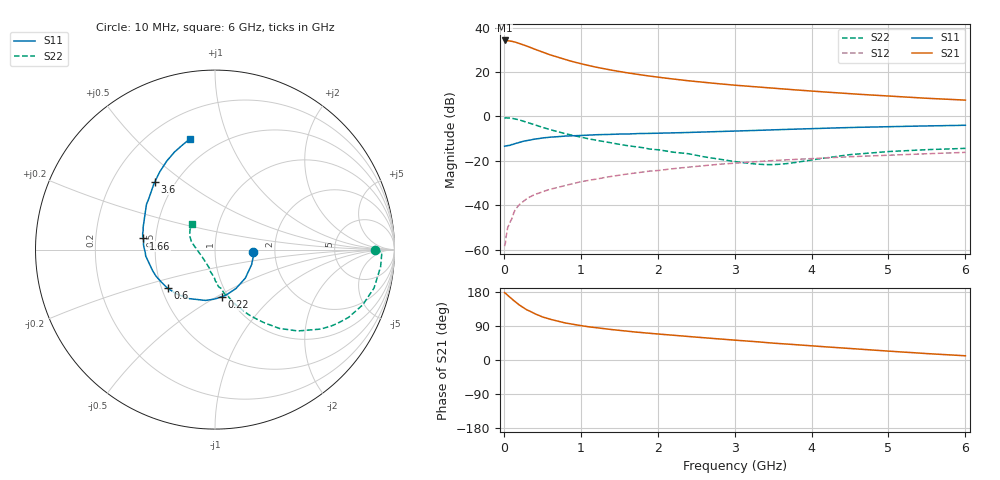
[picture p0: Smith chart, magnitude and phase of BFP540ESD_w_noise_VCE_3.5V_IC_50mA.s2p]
! Infineon Technologies  Discrete & RF Semiconductors
! BFP540ESD
! VCE =  3.5 V,  IC =  50 mA
! Common Emitter S-Parameters:  Nov 2015
# GHz  S  MA  R  50
!  f  S11  S21  S12  S22
! GHz  MAG  ANG  MAG  ANG  MAG  ANG  MAG  ANG
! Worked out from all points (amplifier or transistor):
!   210 points, 10 MHz to 6 GHz, reference 50 ohm
!   highest |S21| = 34.2 dB at 10 MHz (marker M1)
!   |S21| within 3 dB of that: start of sweep to 332.5 MHz
!   unconditionally stable (mu >= 1): start of sweep to 18.06 MHz; 1.548 GHz to end of sweep
!   at 185 MHz: K = 0.35, MSG = 36.7 dB, |S12| = -40.4 dB
!   at 1.52 GHz: K = 1.00, MSG = 23.2 dB, |S12| = -26.4 dB
!   at 6 GHz: K = 1.10, MAG = 9.9 dB, |S12| = -16.2 dB
!   lowest NFmin = 1.82 dB at 900 MHz
!   S11 on the Smith chart (normalised r, x): 10 MHz: 1.54, -0.04; 220 MHz: 0.93, -0.53; 600 MHz: 0.54, -0.26; 1.66 GHz: 0.43, +0.06; 3.6 GHz: 0.39, +0.39; 6 GHz: 0.36, +0.73
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0.01  0.2131 -3.6  51.18 177.7  0.0012 125.0  0.8942 0.0
0.05  0.2206 -22.3  50.54 170.7  0.0031 84.7  0.9277 -5.9
0.1  0.2319 -43.3  49.12 161.6  0.0048 81.6  0.9116 -13.6
0.12  0.2347 -50.9  48.12 158.3  0.0061 80.6  0.897 -16.3
0.15  0.2463 -61.7  46.92 153.2  0.0081 79.7  0.8789 -20.5
0.2  0.2613 -76.6  44.1 145.4  0.0102 75.3  0.8345 -26.9
0.22  0.2652 -82.0  42.82 142.7  0.011 75.1  0.8144 -29.0
0.26  0.277 -91.9  40.47 137.3  0.0125 74.1  0.7762 -33.2
0.3  0.288 -100.5  38.15 132.3  0.0141 71.6  0.7374 -36.9
0.4  0.3089 -117.8  32.63 122.0  0.0174 68.5  0.6467 -44.5
0.5  0.3275 -131.1  28.15 113.8  0.02 66.7  0.568 -50.7
0.6  0.3407 -140.9  24.34 107.5  0.0229 67.7  0.5036 -55.2
0.8  0.3606 -155.8  18.96 97.7  0.028 66.8  0.4077 -62.7
1.02  0.3732 -167.2  15.07 90.1  0.0343 65.3  0.3341 -68.5
1.3  0.3891 -177.7  11.84 82.7  0.0419 64.7  0.2701 -74.3
1.66  0.4054 171.2  9.246 74.9  0.0517 62.3  0.2137 -82.7
2.02  0.4197 162.3  7.56 68.3  0.0608 59.9  0.1764 -89.0
3.1  0.472 140.1  4.886 51.0  0.0911 50.5  0.0913 -121.2
3.6  0.5051 131.5  4.176 43.2  0.1037 45.5  0.084 -157.2
4.1  0.5373 123.9  3.613 35.8  0.1143 40.9  0.1111 173.2
5.1  0.5928 111.4  2.807 22.1  0.1359 31.2  0.1647 148.9
6  0.6312 102.9  2.325 11.1  0.155 23.8  0.191 131.3
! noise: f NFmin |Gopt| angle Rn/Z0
0.9  1.82  0.49  -140  0.15
1.8  1.97  0.51  -142  0.15
2.4  2.02  0.52  -132  0.19
3  2.14  0.54  -123  0.26
4  2.19  0.61  -102  0.45
5  2.28  0.69  -86  0.67
6  2.72  0.63  -83  1.04
